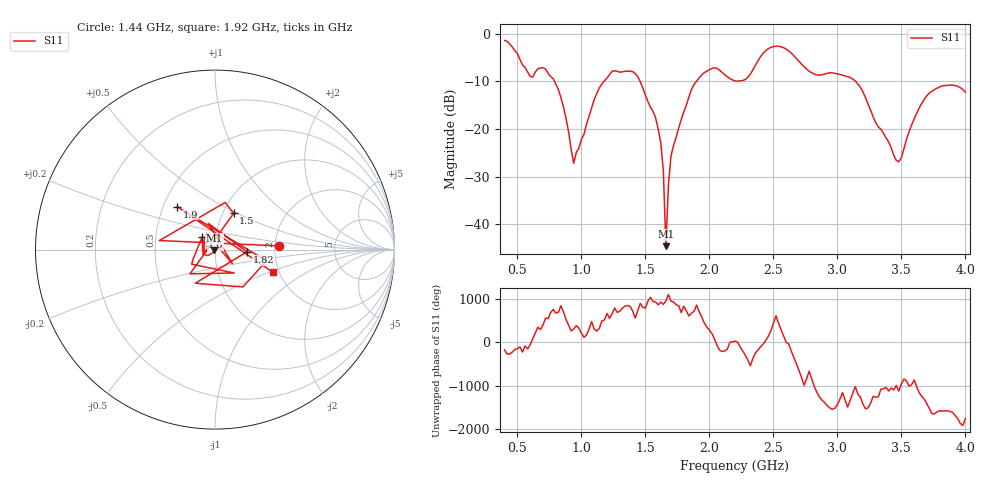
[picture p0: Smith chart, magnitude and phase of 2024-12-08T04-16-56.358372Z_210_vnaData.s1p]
!Created with skrf (http://scikit-rf.org).
# Hz S RI R 50.0
!freq ReS11 ImS11
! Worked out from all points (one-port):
!   181 points, 400 MHz to 4 GHz, reference 50 ohm
!   lowest |S11| = -44.7 dB at 1.66 GHz (marker M1), VSWR 1.01, Z = 49.6 - j0.418 ohm
!   |S11| at or under -10 dB: 789.8 MHz to 1.176 GHz (385.7 MHz wide, 39.3 % of centre); 1.459 GHz to 1.898 GHz (438.9 MHz wide, 26.1 % of centre); 3.143 GHz to end of sweep
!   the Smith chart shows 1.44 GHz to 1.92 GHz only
!   S11 on the Smith chart (normalised r, x): 1.44 GHz: 2.10, +0.10; 1.5 GHz: 1.12, +0.48; 1.6 GHz: 0.86, +0.12; 1.82 GHz: 1.43, -0.04; 1.9 GHz: 0.59, +0.31; 1.92 GHz: 1.85, -0.53
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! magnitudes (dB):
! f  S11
! 400 MHz  -1.4
! 600 MHz  -8.9
! 720 MHz  -7.4
! 860 MHz  -15.4
! 940 MHz  -27.2
! 1.14 GHz  -11.4
! 1.3 GHz  -8.0
! 1.44 GHz  -9.0
! 1.5 GHz  -12.9
! 1.6 GHz  -20.0
! 1.64 GHz  -28.7
! 1.66 GHz  -44.7
! 1.68 GHz  -31.8
! 1.7 GHz  -25.7
! 1.76 GHz  -19.8
! 1.82 GHz  -15.0
! 1.9 GHz  -9.9
! 1.92 GHz  -9.2
! 2.04 GHz  -7.1
! 2.2 GHz  -9.9
! 2.48 GHz  -2.8
! 2.66 GHz  -4.6
! 2.82 GHz  -8.5
! 3.1 GHz  -9.2
! 3.46 GHz  -26.6
! 3.56 GHz  -20.6
! 3.72 GHz  -12.4
! 4 GHz  -12.3
